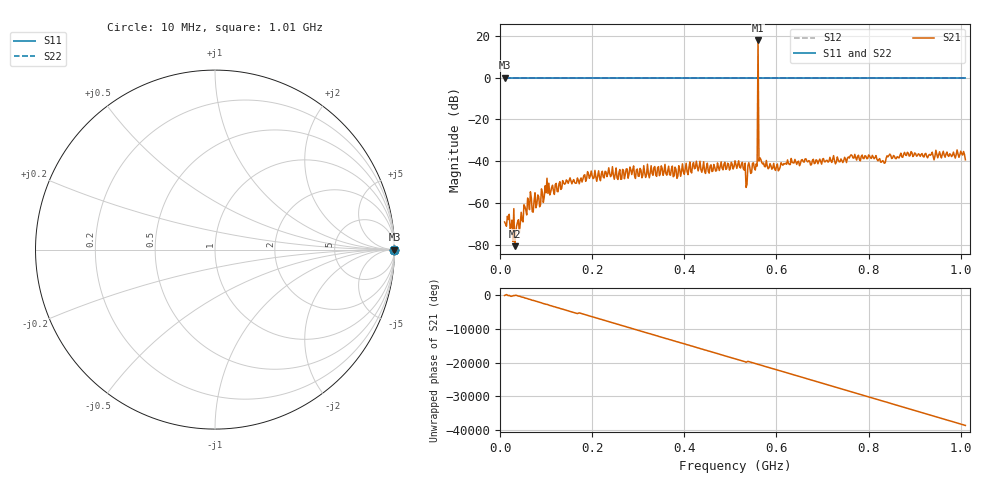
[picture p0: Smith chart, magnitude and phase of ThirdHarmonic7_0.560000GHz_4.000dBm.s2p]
! 8/17/2025 5:08:24 PM
! C:\ANRITSUVNA\TEMP\TEMP.S2P
! CHANNEL.1
! TR.MEASUREMENT
! RAW.DATA
! RF.CORRECTION.OFF
! AVERAGING.OFF
! IF.BANDWIDTH: 5KHZ
! SWEEPTYPE:  FREQ.SWEEP(Linear)
! Reference Plane Port Info
! PORT:  PORT1  PORT2
! DISTANCE:  0  m  0  m
! TIME:  0  s  0  s
! PHASE.OFFSET:  0  deg.  0  deg.
! LOSS:  0  dB  0  dB
! REF.LOSS:  0  dB  0  dB
! REF.FREQ:  0  Hz  0  Hz
! Power Info
! POWER:  -20  dBm  -20  dBm
! EFF.POWER:  -20  dBm  -20  dBm
! SOURCE.ATTEN:  0  dB  0  dB
! TEST.ATTEN:  0  dB  0  dB
# GHZ S RI R 50.0
! FREQ.GHZ  S11RE  S11IM  S21RE  S21IM  S12RE  S12IM  S22RE  S22IM
!; PortSelection: Port_12
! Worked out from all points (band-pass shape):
!   501 points, 10 MHz to 1.01 GHz, reference 50 ohm
!   highest |S21| = 17.67 dB at 560 MHz (marker M1); lowest = -80.4 dB at 32 MHz (marker M2)
!   |S21| within 3 dB of the highest: 559.8998 MHz to 560.1044 MHz (204.6 kHz wide, 0.0365 % of centre)
!   lowest |S11| = 0.0 dB at 10 MHz (marker M3)
!   |S11| at or under -10 dB: nowhere
!   |S22| runs from 0.0 to 0.0 dB; largest |S21 - S12| = 6.8
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0.01  1 0  -0.000327 -0.000151  1 0  1 0
0.02  1 0  -0.000387 -0.00039  1 0  1 0
0.032  1 0  -8.65e-05 4.09e-05  1 0  1 0
0.064  1 0  -0.000646 0.000296  1 0  1 0
0.074  1 0  -0.000301 0.00111  1 0  1 0
0.102  1 0  -0.000307 0.00397  1 0  1 0
0.178  1 0  -0.000764 -0.00314  1 0  1 0
0.344  1 0  0.00733 -0.00163  1 0  1 0
0.51  1 0  -0.0101 -0.00251  1 0  1 0
0.528  1 0  -0.00671 0.0003  1 0  1 0
0.532  1 0  0.00732 0.00553  1 0  1 0
0.554  1 0  -0.0031 -0.0054  1 0  1 0
0.556  1 0  -0.00836 0.00251  1 0  1 0
0.56  1 0  6.506 -4.012  1 0  1 0
0.564  1 0  -0.011 -0.00541  1 0  1 0
0.566  1 0  -0.00248 0.011  1 0  1 0
0.602  1 0  -0.002 0.00845  1 0  1 0
0.678  1 0  0.00568 -0.00899  1 0  1 0
0.766  1 0  0.0121 -0.000485  1 0  1 0
0.832  1 0  -0.00672 -0.00763  1 0  1 0
0.844  1 0  -0.0071 0.0118  1 0  1 0
1.01  1 0  0.000681 -0.011  1 0  1 0
